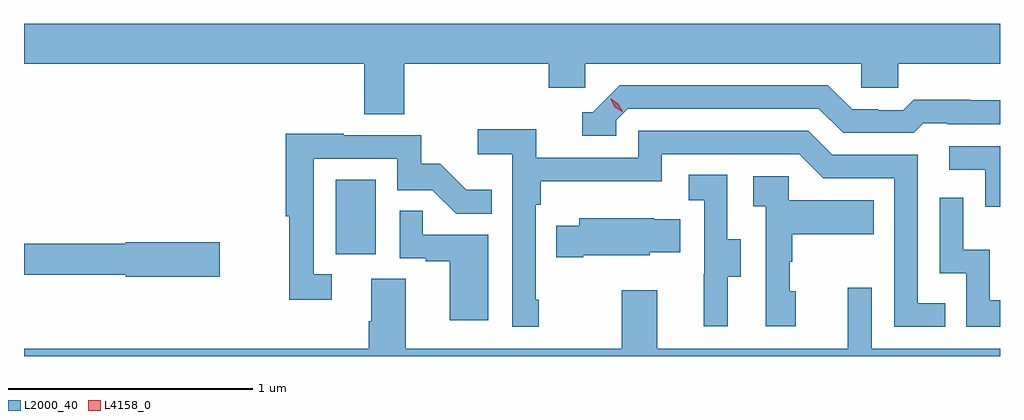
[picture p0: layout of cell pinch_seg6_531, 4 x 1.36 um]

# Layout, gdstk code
import gdstk
lib = gdstk.Library(unit=1e-6, precision=1e-09)
def R(c, l, rs):  # rectangles x0, y0, x1, y1
    for r in rs: c.add(gdstk.rectangle(r[:2], r[2:], *l))
def P(c, l, *ps):  # polygons
    for p in ps: c.add(gdstk.Polygon(p, *l))
L2000_40 = (2000, 40)
L4158_0 = (4158, 0)

pinch_seg6_531 = lib.new_cell('pinch_seg6_531')
R(pinch_seg6_531, L2000_40, [(830.876,915.918,831.04,916.225)])
P(pinch_seg6_531, L2000_40, [(831.158,916.7),(831.749,916.7),(831.749,916.602),(831.9,916.602),(831.9,916.7),(833.031,916.7),(833.031,916.602),(833.181,916.602),(833.181,916.7),(833.599,916.7),(833.599,916.864),(829.599,916.864),(829.599,916.7),(830.993,916.7),(830.993,916.492),(831.158,916.492)],
  [(832.026,916.467),(832.074,916.515),(832.857,916.515),(832.956,916.416),(833.245,916.416),(833.284,916.455),(833.383,916.455),(833.383,916.452),(833.599,916.452),(833.599,916.549),(833.478,916.549),(833.478,916.552),(833.245,916.552),(833.203,916.509),(833.1,916.509),(833.1,916.512),(832.993,916.512),(832.894,916.611),(832.041,916.611),(831.93,916.5),(831.887,916.5),(831.887,916.404),(832.026,916.404)],
  [(831.709,915.733),(831.696,915.733),(831.696,916.121),(831.716,916.121),(831.716,916.217),(832.212,916.217),(832.212,916.329),(832.776,916.329),(832.875,916.23),(833.166,916.23),(833.166,915.621),(833.375,915.621),(833.375,915.717),(833.262,915.717),(833.262,916.326),(832.912,916.326),(832.813,916.425),(832.116,916.425),(832.116,916.314),(831.698,916.314),(831.698,916.43),(831.459,916.43),(831.459,916.328),(831.6,916.328),(831.6,915.621),(831.709,915.621)],
  [(830.86,915.837),(830.787,915.837),(830.787,916.311),(831.129,916.311),(831.129,916.182),(831.273,916.182),(831.371,916.084),(831.515,916.084),(831.515,916.183),(831.411,916.183),(831.304,916.29),(831.228,916.29),(831.228,916.407),(830.909,916.407),(830.909,916.412),(830.671,916.412),(830.671,916.074),(830.686,916.074),(830.686,915.732),(830.86,915.732)],
  [(833.599,916.362),(833.391,916.362),(833.391,916.266),(833.538,916.266),(833.538,916.113),(833.599,916.113)],
  [(832.483,915.826),(832.537,915.826),(832.537,915.981),(832.482,915.981),(832.482,916.244),(832.323,916.244),(832.323,916.141),(832.386,916.141),(832.386,915.837),(832.385,915.837),(832.385,915.624),(832.483,915.624)],
  [(832.762,915.768),(832.737,915.768),(832.737,915.887),(832.747,915.887),(832.747,916.001),(833.081,916.001),(833.081,916.141),(832.734,916.141),(832.734,916.239),(832.587,916.239),(832.587,916.115),(832.638,916.115),(832.638,915.624),(832.762,915.624)],
  [(833.599,915.73),(833.558,915.73),(833.558,915.938),(833.448,915.938),(833.448,916.15),(833.352,916.15),(833.352,915.84),(833.46,915.84),(833.46,915.621),(833.599,915.621)],
  [(831.502,915.999),(831.233,915.999),(831.233,916.097),(831.138,916.097),(831.138,915.903),(831.245,915.903),(831.245,915.891),(831.344,915.891),(831.344,915.648),(831.502,915.648)],
  [(831.892,915.914),(832.164,915.914),(832.164,915.926),(832.289,915.926),(832.289,916.063),(832.181,916.063),(832.181,916.066),(831.875,916.066),(831.875,916.036),(831.781,916.036),(831.781,915.907),(831.892,915.907)],
  [(830.401,915.968),(830.016,915.968),(830.016,915.962),(829.599,915.962),(829.599,915.834),(830.016,915.834),(830.016,915.826),(830.401,915.826)],
  [(833.599,915.532),(833.073,915.532),(833.073,915.781),(832.976,915.781),(832.976,915.532),(832.195,915.532),(832.195,915.772),(832.048,915.772),(832.048,915.532),(831.163,915.532),(831.163,915.818),(831.023,915.818),(831.023,915.644),(831.011,915.644),(831.011,915.532),(829.599,915.532),(829.599,915.5),(833.599,915.5)])
P(pinch_seg6_531, L4158_0, [(832.051,916.502),(832.02,916.522),(832.004,916.554),(832.004,916.555),(832.005,916.555),(832.035,916.535),(832.052,916.503),(832.052,916.502)])

lib.write_gds('pinch_seg6_531.gds')
